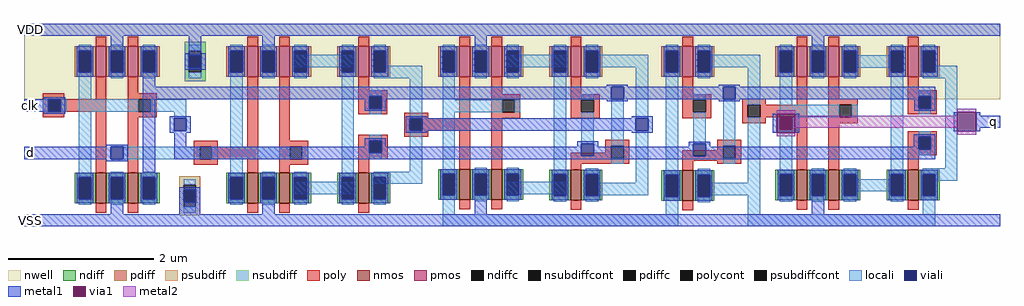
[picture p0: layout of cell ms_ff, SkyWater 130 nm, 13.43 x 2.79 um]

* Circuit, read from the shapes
.subckt ms_ff VDD VSS clk d q
XM1 VSS clk n1 VSS sky130_fd_pr__nfet_01v8 w=0.42 l=0.15
XM2 n2 n1 VSS VSS sky130_fd_pr__nfet_01v8 w=0.42 l=0.15
XM3 VSS d n3 VSS sky130_fd_pr__nfet_01v8 w=0.42 l=0.15
XM4 n4 n3 VSS VSS sky130_fd_pr__nfet_01v8 w=0.42 l=0.15
XM5 n5 n1 n4 VSS sky130_fd_pr__nfet_01v8 w=0.42 l=0.15
XM6 VSS n5 n6 VSS sky130_fd_pr__nfet_01v8 w=0.42 l=0.15
XM7 n7 n6 VSS VSS sky130_fd_pr__nfet_01v8 w=0.42 l=0.15
XM8 n5 n2 n7 VSS sky130_fd_pr__nfet_01v8 w=0.42 l=0.15
XM9 n8 n2 n6 VSS sky130_fd_pr__nfet_01v8 w=0.42 l=0.15
XM10 VSS n8 q VSS sky130_fd_pr__nfet_01v8 w=0.42 l=0.15
XM11 n9 q VSS VSS sky130_fd_pr__nfet_01v8 w=0.42 l=0.15
XM12 n8 n1 n9 VSS sky130_fd_pr__nfet_01v8 w=0.42 l=0.15
XM13 VDD clk n1 VDD sky130_fd_pr__pfet_01v8 w=0.42 l=0.15
XM14 n2 n1 VDD VDD sky130_fd_pr__pfet_01v8 w=0.42 l=0.15
XM15 VDD d n3 VDD sky130_fd_pr__pfet_01v8 w=0.42 l=0.15
XM16 n4 n3 VDD VDD sky130_fd_pr__pfet_01v8 w=0.42 l=0.15
XM17 n5 n2 n4 VDD sky130_fd_pr__pfet_01v8 w=0.42 l=0.15
XM18 VDD n5 n6 VDD sky130_fd_pr__pfet_01v8 w=0.42 l=0.15
XM19 n7 n6 VDD VDD sky130_fd_pr__pfet_01v8 w=0.42 l=0.15
XM20 n5 n1 n7 VDD sky130_fd_pr__pfet_01v8 w=0.42 l=0.15
XM21 n8 n1 n6 VDD sky130_fd_pr__pfet_01v8 w=0.42 l=0.15
XM22 VDD n8 q VDD sky130_fd_pr__pfet_01v8 w=0.42 l=0.15
XM23 n9 q VDD VDD sky130_fd_pr__pfet_01v8 w=0.42 l=0.15
XM24 n8 n2 n9 VDD sky130_fd_pr__pfet_01v8 w=0.42 l=0.15
.ends

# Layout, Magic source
magic
tech sky130A
magscale 1 2
<< nwell >>
rect -103 311 0 519
rect 303 311 429 519
rect 941 311 1159 519
rect 1525 311 1743 519
rect 1833 311 2051 519
rect 2452 311 2583 519
<< psubdiff >>
rect 324 75 382 99
rect 324 15 336 75
rect 370 15 382 75
rect 324 -9 382 15
<< nsubdiff >>
rect 339 445 397 469
rect 339 385 351 445
rect 385 385 397 445
rect 339 361 397 385
<< psubdiffcont >>
rect 336 15 370 75
<< nsubdiffcont >>
rect 351 385 385 445
<< poly >>
rect -52 311 8 327
rect 94 311 124 347
rect -52 277 -36 311
rect -2 277 124 311
rect -52 261 8 277
rect 94 134 124 277
rect 182 327 212 347
rect 182 311 262 327
rect 182 277 212 311
rect 246 277 262 311
rect 182 261 262 277
rect 182 134 212 261
rect 364 180 430 196
rect 511 180 541 347
rect 364 146 380 180
rect 414 146 541 180
rect 364 130 430 146
rect 511 134 541 146
rect 599 196 629 347
rect 817 335 847 347
rect 817 319 897 335
rect 817 285 847 319
rect 881 285 897 319
rect 817 269 897 285
rect 943 258 1009 274
rect 1095 258 1125 347
rect 943 224 959 258
rect 993 224 1125 258
rect 817 197 898 213
rect 943 208 1009 224
rect 599 180 679 196
rect 599 146 629 180
rect 663 146 679 180
rect 599 134 679 146
rect 817 163 847 197
rect 881 163 898 197
rect 817 146 898 163
rect 817 134 847 146
rect 1095 134 1125 224
rect 1183 325 1213 347
rect 1401 325 1431 347
rect 1709 325 1739 347
rect 1183 309 1263 325
rect 1183 275 1213 309
rect 1247 275 1263 309
rect 1183 259 1263 275
rect 1401 309 1481 325
rect 1401 275 1431 309
rect 1465 275 1481 309
rect 1401 259 1481 275
rect 1709 309 1789 325
rect 1709 275 1739 309
rect 1773 275 1789 309
rect 1709 259 1789 275
rect 1873 296 1939 312
rect 2023 296 2053 347
rect 1873 261 1889 296
rect 1923 261 2053 296
rect 1183 134 1213 259
rect 1873 245 1939 261
rect 1497 183 1563 199
rect 1497 163 1513 183
rect 1401 149 1513 163
rect 1547 149 1563 183
rect 1805 183 1871 199
rect 1805 171 1821 183
rect 613 130 679 134
rect 1401 133 1563 149
rect 1709 149 1821 171
rect 1855 149 1871 183
rect 1709 141 1871 149
rect 2023 141 2053 261
rect 2111 312 2141 347
rect 2329 335 2359 347
rect 2329 319 2409 335
rect 2111 296 2191 312
rect 2111 261 2141 296
rect 2175 261 2191 296
rect 2329 285 2359 319
rect 2393 285 2409 319
rect 2329 269 2409 285
rect 2111 245 2191 261
rect 1805 133 1871 141
rect 2111 138 2141 245
rect 2329 207 2409 223
rect 2329 173 2359 207
rect 2393 173 2409 207
rect 2329 157 2409 173
rect 2329 141 2359 157
<< polycont >>
rect -36 277 -2 311
rect 212 277 246 311
rect 380 146 414 180
rect 847 285 881 319
rect 959 224 993 258
rect 629 146 663 180
rect 847 163 881 197
rect 1213 275 1247 309
rect 1431 275 1465 309
rect 1739 275 1773 309
rect 1889 261 1923 296
rect 1513 149 1547 183
rect 1821 149 1855 183
rect 2141 261 2175 296
rect 2359 285 2393 319
rect 2359 173 2393 207
<< locali >>
rect 351 445 385 461
rect 641 399 805 433
rect 351 369 385 385
rect 893 369 993 403
rect 1225 399 1389 433
rect 1477 399 1615 433
rect 1785 399 1923 433
rect 48 311 82 369
rect -52 277 -36 311
rect -2 277 14 311
rect 48 277 212 311
rect 246 277 344 311
rect 48 112 82 277
rect 310 258 344 277
rect 465 180 499 369
rect 170 146 380 180
rect 414 146 430 180
rect 465 146 629 180
rect 663 146 679 180
rect 465 112 499 146
rect 771 112 805 369
rect 847 319 881 335
rect 847 269 881 285
rect 959 258 993 369
rect 847 197 881 213
rect 847 146 881 163
rect 959 112 993 224
rect 1049 309 1083 369
rect 1049 275 1213 309
rect 1247 275 1263 309
rect 1049 112 1083 275
rect 336 75 370 91
rect 641 50 805 84
rect 859 78 993 112
rect 1355 111 1389 369
rect 1431 309 1465 325
rect 1431 189 1465 275
rect 1513 183 1547 311
rect 1513 133 1547 149
rect 1581 258 1615 399
rect 1225 50 1389 84
rect 1581 81 1615 224
rect 1663 119 1697 369
rect 1739 309 1773 325
rect 1739 188 1773 275
rect 1821 183 1855 311
rect 1821 133 1855 149
rect 1889 296 1923 399
rect 2187 398 2283 432
rect 1889 81 1923 261
rect 1977 296 2011 374
rect 2403 369 2466 403
rect 1977 262 2141 296
rect 2011 261 2141 262
rect 2175 261 2191 296
rect 1977 119 2011 228
rect 2283 119 2317 369
rect 2359 319 2393 335
rect 2359 269 2393 285
rect 2359 207 2393 223
rect 2359 157 2393 173
rect 2432 121 2466 369
rect 2400 120 2466 121
rect 1477 47 1615 81
rect 1785 47 1923 81
rect 2187 57 2283 91
rect 2403 86 2466 120
rect 336 -1 370 15
rect 1049 -5 1083 30
rect 1663 -5 1697 27
rect 1049 -39 1697 -5
rect 1889 -5 1923 47
rect 2371 -5 2405 30
rect 1889 -39 2405 -5
<< viali >>
rect 351 398 385 432
rect -36 277 -2 311
rect 310 224 344 258
rect 136 146 170 180
rect 847 285 881 319
rect 959 224 993 258
rect 847 163 881 197
rect 336 28 370 62
rect 1431 155 1465 189
rect 1513 311 1547 345
rect 1581 224 1615 258
rect 1739 154 1773 188
rect 1821 311 1855 345
rect 1977 228 2011 262
rect 2359 285 2393 319
rect 2359 173 2393 207
<< metal1 >>
rect -103 485 2583 519
rect 136 457 170 485
rect 351 438 385 485
rect 553 457 587 485
rect 1137 445 1171 485
rect 2065 457 2099 485
rect 339 432 397 438
rect 339 398 351 432
rect 385 398 397 432
rect 339 392 397 398
rect 224 345 258 373
rect 1501 345 1559 351
rect 1809 345 1867 351
rect 224 319 1513 345
rect -48 311 10 317
rect -103 277 -36 311
rect -2 277 10 311
rect -48 271 10 277
rect 224 311 847 319
rect 124 180 182 186
rect -103 146 136 180
rect 170 146 182 180
rect 124 140 182 146
rect 224 108 258 311
rect 835 285 847 311
rect 881 311 1513 319
rect 1547 311 1821 345
rect 1855 319 2405 345
rect 1855 311 2359 319
rect 881 285 893 311
rect 1501 305 1559 311
rect 1809 305 1867 311
rect 835 279 893 285
rect 2347 285 2359 311
rect 2393 285 2405 319
rect 2347 279 2405 285
rect 298 258 356 264
rect 298 224 310 258
rect 344 224 356 258
rect 298 218 356 224
rect 947 258 1005 264
rect 1569 258 1627 264
rect 947 224 959 258
rect 993 224 1581 258
rect 1615 224 1627 258
rect 947 218 1005 224
rect 1569 218 1627 224
rect 1958 219 1968 271
rect 2020 219 2030 271
rect 2456 223 2466 275
rect 2518 266 2528 275
rect 2518 232 2583 266
rect 2518 223 2528 232
rect 310 180 344 218
rect 2346 207 2405 215
rect 835 197 893 203
rect 835 180 847 197
rect 310 163 847 180
rect 881 180 893 197
rect 1419 189 1477 195
rect 1419 180 1431 189
rect 881 163 1431 180
rect 310 155 1431 163
rect 1465 180 1477 189
rect 1727 188 1785 194
rect 1727 180 1739 188
rect 1465 155 1739 180
rect 310 154 1739 155
rect 1773 180 1785 188
rect 2346 180 2359 207
rect 1773 173 2359 180
rect 2393 173 2405 207
rect 1773 154 2405 173
rect 310 146 2405 154
rect 324 62 382 68
rect 324 28 336 62
rect 370 28 382 62
rect 136 -5 170 24
rect 324 -5 382 28
rect 553 -5 587 36
rect 1137 -5 1171 34
rect 2065 -5 2099 34
rect -103 -6 1171 -5
rect 1818 -6 2261 -5
rect -103 -39 2583 -6
<< via1 >>
rect 1968 262 2020 271
rect 1968 228 1977 262
rect 1977 228 2011 262
rect 2011 228 2020 262
rect 1968 219 2020 228
rect 2466 223 2518 275
<< metal2 >>
rect 1968 271 2020 281
rect 2466 275 2518 285
rect 2020 232 2466 266
rect 1968 209 2020 219
rect 2466 213 2518 223
use sky130_fd_pr__nfet_01v8_A6LSUL  m1
transform -1 0 109 0 1 66
box -73 -68 73 68
use sky130_fd_pr__pfet_01v8_4Y88KP  m2
transform -1 0 109 0 1 415
box -109 -104 109 104
use sky130_fd_pr__nfet_01v8_A6LSUL  m3
transform 1 0 197 0 1 66
box -73 -68 73 68
use sky130_fd_pr__pfet_01v8_4Y88KP  m4
transform 1 0 197 0 1 415
box -109 -104 109 104
use sky130_fd_pr__nfet_01v8_A6LSUL  m5
transform -1 0 526 0 1 66
box -73 -68 73 68
use sky130_fd_pr__pfet_01v8_4Y88KP  m6
transform -1 0 526 0 1 415
box -109 -104 109 104
use sky130_fd_pr__pfet_01v8_4Y88KP  m7
transform 1 0 614 0 1 415
box -109 -104 109 104
use sky130_fd_pr__nfet_01v8_A6LSUL  m8
transform 1 0 614 0 1 66
box -73 -68 73 68
use sky130_fd_pr__pfet_01v8_4Y88KP  m9
transform -1 0 832 0 1 415
box -109 -104 109 104
use sky130_fd_pr__nfet_01v8_A6LSUL  m10
transform 1 0 832 0 1 66
box -73 -68 73 68
use sky130_fd_pr__pfet_01v8_4Y88KP  m11
transform -1 0 1110 0 1 415
box -109 -104 109 104
use sky130_fd_pr__nfet_01v8_A6LSUL  m12
transform -1 0 1110 0 1 76
box -73 -68 73 68
use sky130_fd_pr__pfet_01v8_4Y88KP  m13
transform 1 0 1198 0 1 415
box -109 -104 109 104
use sky130_fd_pr__nfet_01v8_A6LSUL  m14
transform 1 0 1198 0 1 76
box -73 -68 73 68
use sky130_fd_pr__pfet_01v8_4Y88KP  m15
transform 1 0 1416 0 1 415
box -109 -104 109 104
use sky130_fd_pr__nfet_01v8_A6LSUL  m16
transform 1 0 1416 0 1 75
box -73 -68 73 68
use sky130_fd_pr__pfet_01v8_4Y88KP  m17
transform 1 0 1724 0 1 415
box -109 -104 109 104
use sky130_fd_pr__nfet_01v8_A6LSUL  m18
transform 1 0 1724 0 1 73
box -73 -68 73 68
use sky130_fd_pr__pfet_01v8_4Y88KP  m19
transform -1 0 2038 0 1 415
box -109 -104 109 104
use sky130_fd_pr__nfet_01v8_A6LSUL  m20
transform -1 0 2038 0 1 75
box -73 -68 73 68
use sky130_fd_pr__pfet_01v8_4Y88KP  m21
transform 1 0 2126 0 1 415
box -109 -104 109 104
use sky130_fd_pr__nfet_01v8_A6LSUL  m22
transform 1 0 2126 0 1 75
box -73 -68 73 68
use sky130_fd_pr__pfet_01v8_4Y88KP  m23
transform 1 0 2344 0 1 415
box -109 -104 109 104
use sky130_fd_pr__nfet_01v8_A6LSUL  m24
transform 1 0 2344 0 1 75
box -73 -68 73 68
<< labels >>
rlabel metal1 2549 232 2583 266 0 q
rlabel metal1 -103 277 -69 311 0 clk
rlabel metal1 -103 146 -69 180 0 d
rlabel metal1 -103 485 -69 519 0 VDD
rlabel metal1 -103 -39 -69 -5 0 VSS
<< end >>

# cell sky130_fd_pr__nfet_01v8_A6LSUL: kit device sky130_fd_pr__nfet_01v8, w 0.420 l 0.150 m 1 nf 1 diffcov 100 polycov 100 guard 0 glc 0 grc 0 gtc 0 gbc 0 tbcov 100 rlcov 100 topc 0 botc 0 poverlap 0 doverlap 0 lmin 0.15 wmin 0.42 compatible {sky130_fd_pr__nfet_01v8 sky130_fd_pr__nfet_01v8_lvt sky130_fd_bs_flash__special_sonosfet_star sky130_fd_pr__nfet_g5v0d10v5 sky130_fd_pr__nfet_05v0_nvt sky130_fd_pr__nfet_03v3_nvt} full_metal 0 viasrc 100 viadrn 100 viagate 100 viagb 0 viagr 0 viagl 0 viagt 0

# cell sky130_fd_pr__pfet_01v8_4Y88KP: kit device sky130_fd_pr__pfet_01v8, w 0.42 l 0.15 m 1 nf 1 diffcov 100 polycov 100 guard 0 glc 0 grc 0 gtc 0 gbc 0 tbcov 100 rlcov 100 topc 0 botc 0 poverlap 0 doverlap 0 lmin 0.15 wmin 0.42 compatible {sky130_fd_pr__pfet_01v8 sky130_fd_pr__pfet_01v8_lvt sky130_fd_pr__pfet_01v8_hvt sky130_fd_pr__pfet_g5v0d10v5} full_metal 0 viasrc 100 viadrn 100 viagate 100 viagb 0 viagr 0 viagl 0 viagt 0
